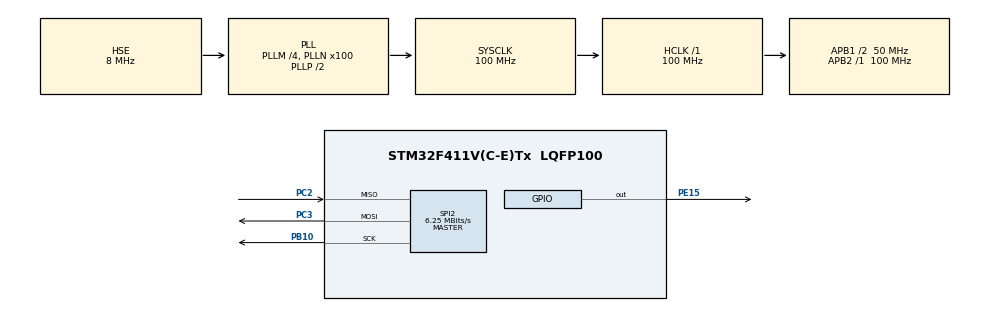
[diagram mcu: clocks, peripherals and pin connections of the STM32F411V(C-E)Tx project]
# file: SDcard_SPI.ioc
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Mcu.Family=STM32F4
Mcu.Name=STM32F411V(C-E)Tx
Mcu.Package=LQFP100
NVIC.PriorityGroup=NVIC_PRIORITYGROUP_4
PA13.Mode=Serial_Wire
PA13.Signal=SYS_JTMS-SWDIO
PA14.Mode=Serial_Wire
PA14.Signal=SYS_JTCK-SWCLK
PB10.Mode=Full_Duplex_Master
PB10.Signal=SPI2_SCK
PC2.Mode=Full_Duplex_Master
PC2.Signal=SPI2_MISO
PC3.Mode=Full_Duplex_Master
PC3.Signal=SPI2_MOSI
PE15.Signal=GPIO_Output
PH0\ -\ OSC_IN.Mode=HSE-External-Oscillator
PH0\ -\ OSC_IN.Signal=RCC_OSC_IN
PH1\ -\ OSC_OUT.Mode=HSE-External-Oscillator
PH1\ -\ OSC_OUT.Signal=RCC_OSC_OUT
ProjectManager.HeapSize=0x200
ProjectManager.StackSize=0x400
ProjectManager.TargetToolchain=STM32CubeIDE
RCC.48MHZClocksFreq_Value=50000000
RCC.AHBFreq_Value=100000000
RCC.APB1CLKDivider=RCC_HCLK_DIV2
RCC.APB1Freq_Value=50000000
RCC.APB1TimFreq_Value=100000000
RCC.APB2Freq_Value=100000000
RCC.APB2TimFreq_Value=100000000
RCC.CortexFreq_Value=100000000
RCC.HCLKFreq_Value=100000000
RCC.HSE_VALUE=8000000
RCC.HSI_VALUE=16000000
RCC.LSE_VALUE=32768
RCC.PLLM=4
RCC.PLLN=100
RCC.PLLSourceVirtual=RCC_PLLSOURCE_HSE
RCC.SYSCLKFreq_VALUE=100000000
RCC.SYSCLKSource=RCC_SYSCLKSOURCE_PLLCLK
RCC.VCOOutputFreq_Value=200000000
SPI2.BaudRatePrescaler=SPI_BAUDRATEPRESCALER_8
SPI2.CalculateBaudRate=6.25 MBits/s
SPI2.Direction=SPI_DIRECTION_2LINES
SPI2.Mode=SPI_MODE_MASTER
SPI2.VirtualType=VM_MASTER
VP_FATFS_VS_Generic.Mode=User_defined
board=custom

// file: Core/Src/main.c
/* USER CODE BEGIN Header */
/**
  ******************************************************************************
  * @file           : main.c
  * @brief          : Main program body
  ******************************************************************************
  * @attention
  *
  * Copyright (c) 2024 STMicroelectronics.
  * All rights reserved.
  *
  * This software is licensed under terms that can be found in the LICENSE file
  * in the root directory of this software component.
  * If no LICENSE file comes with this software, it is provided AS-IS.
  *
  ******************************************************************************
  */
/* USER CODE END Header */
#include "main.h"
#include "fatfs.h"

/* USER CODE BEGIN Includes */
#include "fatfs_sd.h"
#include "string.h"
#include "stdio.h"
/* USER CODE END Includes */

SPI_HandleTypeDef hspi2;

void SystemClock_Config(void);
static void MX_GPIO_Init(void);
static void MX_SPI2_Init(void);

/* USER CODE BEGIN 0 */
FATFS filesystem;  		// file system
FIL file; 				// File
FRESULT fresult;  		// result
UINT br, bw;  			// File read/write count

// <---- --- capacity related --- ---->
FATFS *pfs;
DWORD fre_clust;
uint32_t total, free_space;

#define BUFFER_SIZE 2048
char buffer[BUFFER_SIZE];  // to store strings..

int bufsize(char *buf)
{
	int i = 0;
	while (*buf++ != '\0')
		i++;

	return i;
}

void clear_buffer(void)
{
	for(int i = 0; i < BUFFER_SIZE; i++)
		buffer[i] = '\0';
}

// <---- --- SWV Print --- ---->
int _write(int file, char *ptr, int len)
{
	for(int i = 0; i < len; i++)
	{
		ITM_SendChar(*ptr++);
	}
	return len;
}
/* USER CODE END 0 */

int main(void)
{

  /* MCU Configuration--------------------------------------------------------*/

  /* Reset of all peripherals, Initializes the Flash interface and the Systick. */
  HAL_Init();

  /* Configure the system clock */
  SystemClock_Config();

  /* Initialize all configured peripherals */
  MX_GPIO_Init();
  MX_SPI2_Init();
  MX_FATFS_Init();
  /* USER CODE BEGIN 2 */
  	HAL_Delay (500);

  	fresult = f_mount(&filesystem, "/", 0);
  	if(fresult != FR_OK)
  		printf("\t Error! in mounting SD Card... %d \n", fresult);
  	else
  		printf("\t SD Card mounted successfully... %d \n", fresult);

  	// <---- -------------------------- Card capacity details -------------------------- ---->
  	// <---- --- Check free space --- ---->
  	f_getfree("", &fre_clust, &pfs);

  	total = (uint32_t)((pfs->n_fatent - 2) * pfs->csize * 0.5);
  	printf("\t SD Card Total Size: \t%lu \n", total);
  	clear_buffer();

  	free_space = (uint32_t)(fre_clust * pfs->csize * 0.5);
  	printf("\t SD Card Free Space: \t%lu \n", free_space);
  	clear_buffer();

  	// <---- -------------------------- The following operation is using PUTS and GETS -------------------------- ---->
  	// <---- --- Open file to write or create if it doesn't exist --- ---->
    fresult = f_open(&file, "/sbzrgn.txt", FA_OPEN_ALWAYS | FA_READ | FA_WRITE);
  	if (fresult == FR_OK)
  		printf("\t sbzrgn.txt is open and the data is shown below %d \n", fresult);
  	else
  		printf("\t Error! sbzrgn.txt is not open %d \n", fresult);

    // <---- --- Writing text --- ---->
  	f_puts("This data is from the sbzrgn.txt. And it was written using ""f_puts"" ", &file);

  	// <---- --- Close file --- ---->
  	fresult = f_close(&file);
  	if (fresult == FR_OK)
  		printf("\t sbzrgn.txt created and the data is written %d \n", fresult);
  	else
  		printf("\t Error! sbzrgn.txt not created %d \n", fresult);

  	// <---- --- Open file to read --- ---->
  	fresult = f_open(&file, "/sbzrgn.txt", FA_READ);

  	// <---- --- Read string from the file --- ---->
  	f_gets(buffer, f_size(&file), &file);
  	printf("\t string is... %s \n", buffer);

  	// <---- --- Close file --- ---->
  	f_close(&file);
  	clear_buffer();

  	// <---- -------------------------- The following operation is using f_write and f_read -------------------------- ---->
  	// <---- --- Create second file with read write access and open it --- ---->
  	fresult = f_open(&file, "/MRL.txt", FA_CREATE_ALWAYS | FA_WRITE);

  	// <---- --- Writing text --- ---->
  	strcpy (buffer, "This is MRL.txt, written using ""f_write"" and it says Hello from MRL \n");
  	fresult = f_write(&file, buffer, sizeof(buffer), &bw);
  	printf("\t MRL.txt created and data is written %d \n", fresult);

  	// <---- --- Close file --- ---->
  	f_close(&file);
  	clear_buffer();

  	// <---- --- Open second file to read --- ---->
  	fresult = f_open(&file, "/MRL.txt", FA_READ);
  	if (fresult == FR_OK)
  		printf("\t MRL.txt is open and the data is shown below %d \n", fresult);
  	else
  		printf("\t Error! MRL.txt is not open %d \n", fresult);

  	// <---- --- Read data from the file --- ---->
  	f_read (&file, buffer, f_size(&file), &br);
  	printf("\t string is... %s \n", buffer);

  	// <---- --- Close file --- ---->
  	f_close(&file);
  	clear_buffer();
  /* USER CODE END 2 */

  /* Infinite loop */
  while (1)
  {

  }
}

void SystemClock_Config(void)
{
  RCC_OscInitTypeDef RCC_OscInitStruct = {0};
  RCC_ClkInitTypeDef RCC_ClkInitStruct = {0};

  /** Configure the main internal regulator output voltage
  */
  __HAL_RCC_PWR_CLK_ENABLE();
  __HAL_PWR_VOLTAGESCALING_CONFIG(PWR_REGULATOR_VOLTAGE_SCALE1);

  /** Initializes the RCC Oscillators according to the specified parameters
  * in the RCC_OscInitTypeDef structure.
  */
  RCC_OscInitStruct.OscillatorType = RCC_OSCILLATORTYPE_HSE;
  RCC_OscInitStruct.HSEState = RCC_HSE_ON;
  RCC_OscInitStruct.PLL.PLLState = RCC_PLL_ON;
  RCC_OscInitStruct.PLL.PLLSource = RCC_PLLSOURCE_HSE;
  RCC_OscInitStruct.PLL.PLLM = 4;
  RCC_OscInitStruct.PLL.PLLN = 100;
  RCC_OscInitStruct.PLL.PLLP = RCC_PLLP_DIV2;
  RCC_OscInitStruct.PLL.PLLQ = 4;
  if (HAL_RCC_OscConfig(&RCC_OscInitStruct) != HAL_OK)
  {
    Error_Handler();
  }

  /** Initializes the CPU, AHB and APB buses clocks
  */
  RCC_ClkInitStruct.ClockType = RCC_CLOCKTYPE_HCLK|RCC_CLOCKTYPE_SYSCLK
                              |RCC_CLOCKTYPE_PCLK1|RCC_CLOCKTYPE_PCLK2;
  RCC_ClkInitStruct.SYSCLKSource = RCC_SYSCLKSOURCE_PLLCLK;
  RCC_ClkInitStruct.AHBCLKDivider = RCC_SYSCLK_DIV1;
  RCC_ClkInitStruct.APB1CLKDivider = RCC_HCLK_DIV2;
  RCC_ClkInitStruct.APB2CLKDivider = RCC_HCLK_DIV1;

  if (HAL_RCC_ClockConfig(&RCC_ClkInitStruct, FLASH_LATENCY_3) != HAL_OK)
  {
    Error_Handler();
  }
}

static void MX_SPI2_Init(void)
{

  /* SPI2 parameter configuration*/
  hspi2.Instance = SPI2;
  hspi2.Init.Mode = SPI_MODE_MASTER;
  hspi2.Init.Direction = SPI_DIRECTION_2LINES;
  hspi2.Init.DataSize = SPI_DATASIZE_8BIT;
  hspi2.Init.CLKPolarity = SPI_POLARITY_LOW;
  hspi2.Init.CLKPhase = SPI_PHASE_1EDGE;
  hspi2.Init.NSS = SPI_NSS_SOFT;
  hspi2.Init.BaudRatePrescaler = SPI_BAUDRATEPRESCALER_8;
  hspi2.Init.FirstBit = SPI_FIRSTBIT_MSB;
  hspi2.Init.TIMode = SPI_TIMODE_DISABLE;
  hspi2.Init.CRCCalculation = SPI_CRCCALCULATION_DISABLE;
  hspi2.Init.CRCPolynomial = 10;
  if (HAL_SPI_Init(&hspi2) != HAL_OK)
  {
    Error_Handler();
  }

}

static void MX_GPIO_Init(void)
{
  GPIO_InitTypeDef GPIO_InitStruct = {0};

  /* GPIO Ports Clock Enable */
  __HAL_RCC_GPIOH_CLK_ENABLE();
  __HAL_RCC_GPIOC_CLK_ENABLE();
  __HAL_RCC_GPIOE_CLK_ENABLE();
  __HAL_RCC_GPIOB_CLK_ENABLE();
  __HAL_RCC_GPIOA_CLK_ENABLE();

  /*Configure GPIO pin Output Level */
  HAL_GPIO_WritePin(GPIOE, GPIO_PIN_15, GPIO_PIN_RESET);

  /*Configure GPIO pin : PE15 */
  GPIO_InitStruct.Pin = GPIO_PIN_15;
  GPIO_InitStruct.Mode = GPIO_MODE_OUTPUT_PP;
  GPIO_InitStruct.Pull = GPIO_NOPULL;
  GPIO_InitStruct.Speed = GPIO_SPEED_FREQ_LOW;
  HAL_GPIO_Init(GPIOE, &GPIO_InitStruct);

}

void Error_Handler(void)
{
  __disable_irq();
  while (1)
  {
  }
}
